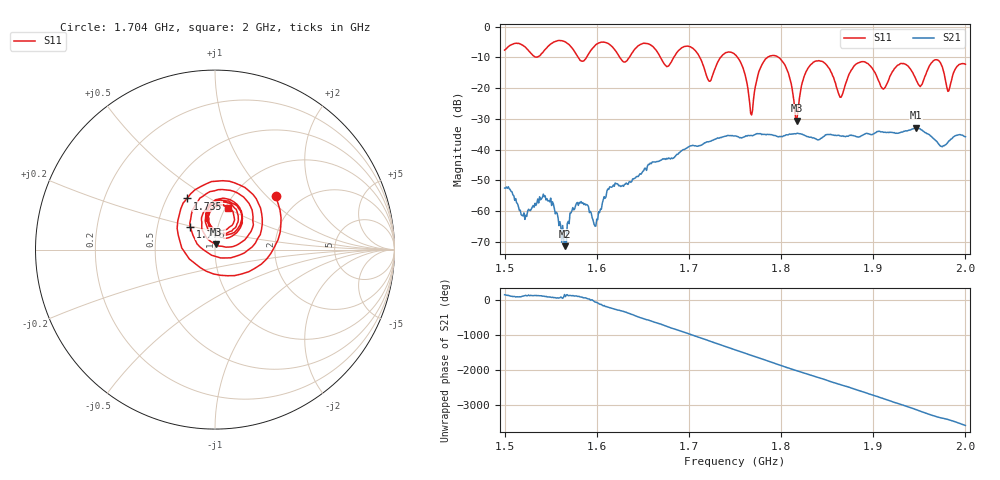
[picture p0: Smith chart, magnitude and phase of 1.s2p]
! NanoVNA-App by SYSJOINT et al v1.1.209 (+OD18)
! Date: 2026-01-21 14:45:20
! Start: 1,5GHz Stop: 2GHz Points: 501
! S-Parameter data: F S11 S21 S12 S22
# Hz S RI R 50
!  Frequency  S11_Real  S11_Imag  S21_Real  S21_Imag  S12_Real  S12_Imag  S22_Real  S22_Imag
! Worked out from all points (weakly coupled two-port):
!   501 points, 1.5 GHz to 2 GHz, reference 50 ohm
!   highest |S21| = -32.88 dB at 1.946 GHz (marker M1); lowest = -71.4 dB at 1.565 GHz (marker M2)
!   lowest |S11| = -30.6 dB at 1.817 GHz (marker M3), VSWR 1.06, Z = 50.3 + j2.95 ohm
!   |S11| at or under -10 dB: 1.712 GHz to 1.734 GHz (22.41 MHz wide, 1.3 % of centre); 1.753 GHz to 1.785 GHz (32.27 MHz wide, 1.82 % of centre); 1.797 GHz to end of sweep (the widest 3 of 6)
!   S12 and S22 are empty: the file has one direction only
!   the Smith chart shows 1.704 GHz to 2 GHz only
!   S11 on the Smith chart (normalised r, x): 1.704 GHz: 1.52, +1.13; 1.735 GHz: 0.63, +0.40; 1.776 GHz: 0.73, +0.19; 2 GHz: 1.03, +0.51
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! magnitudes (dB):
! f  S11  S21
! 1.5 GHz  -7.6  -52.5
! 1.52 GHz  -6.1  -61.6
! 1.551 GHz  -5.4  -58.2
! 1.565 GHz  -4.8  -71.4
! 1.584 GHz  -11.2  -57.5
! 1.599 GHz  -5.8  -64.9
! 1.613 GHz  -5.6  -53.0
! 1.667 GHz  -8.8  -43.8
! 1.704 GHz  -6.9  -38.6
! 1.722 GHz  -17.7  -37.4
! 1.735 GHz  -9.8  -36.1
! 1.75 GHz  -9.1  -35.5
! 1.768 GHz  -28.7  -35.4
! 1.776 GHz  -14.5  -34.8
! 1.8 GHz  -10.7  -35.7
! 1.817 GHz  -30.6  -34.8
! 1.834 GHz  -11.9  -36.2
! 1.864 GHz  -22.9  -35.5
! 1.886 GHz  -11.5  -35.7
! 1.917 GHz  -17.1  -34.5
! 1.946 GHz  -16.9  -32.9
! 2 GHz  -12.2  -35.8
